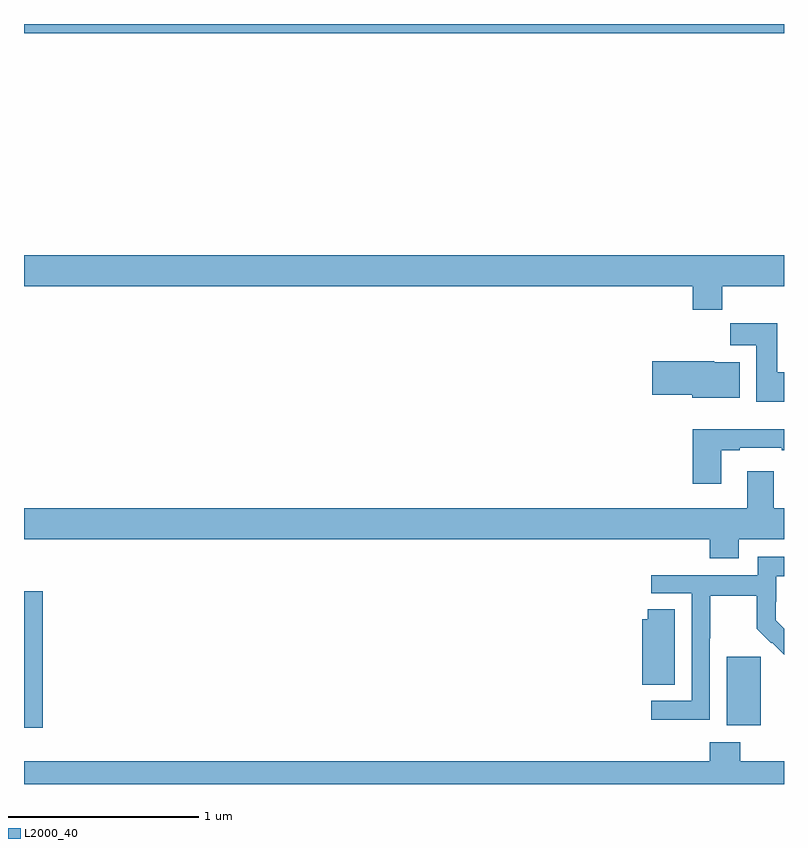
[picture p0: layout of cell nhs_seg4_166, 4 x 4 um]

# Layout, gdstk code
import gdstk
lib = gdstk.Library(unit=1e-6, precision=1e-09)
def R(c, l, rs):  # rectangles x0, y0, x1, y1
    for r in rs: c.add(gdstk.rectangle(r[:2], r[2:], *l))
def P(c, l, *ps):  # polygons
    for p in ps: c.add(gdstk.Polygon(p, *l))
L2000_40 = (2000, 40)

nhs_seg4_166 = lib.new_cell('nhs_seg4_166')
R(nhs_seg4_166, L2000_40, [(119,761.196,119.099,761.914), (122.699,761.21,122.878,761.571), (119,764.852,123,764.9)])
P(nhs_seg4_166, L2000_40, [(122.675,763.52),(123,763.52),(123,763.684),(119,763.684),(119,763.52),(122.519,763.52),(122.519,763.396),(122.675,763.396)],
  [(123,763.068),(122.965,763.068),(122.965,763.326),(122.716,763.326),(122.716,763.208),(122.855,763.208),(122.855,762.912),(123,762.912)],
  [(122.767,763.12),(122.634,763.12),(122.634,763.126),(122.307,763.126),(122.307,762.95),(122.516,762.95),(122.516,762.932),(122.767,762.932)],
  [(122.671,762.657),(122.767,762.657),(122.767,762.669),(122.987,762.669),(122.987,762.657),(123,762.657),(123,762.766),(122.519,762.766),(122.519,762.48),(122.671,762.48)],
  [(122.761,762.188),(123,762.188),(123,762.352),(122.947,762.352),(122.947,762.547),(122.807,762.547),(122.807,762.352),(119,762.352),(119,762.188),(122.609,762.188),(122.609,762.089),(122.761,762.089)],
  [(122.61,761.668),(122.613,761.668),(122.613,761.892),(122.857,761.892),(122.857,761.717),(122.934,761.64),(122.937,761.643),(123,761.581),(123,761.718),(122.956,761.762),(122.956,761.859),(122.958,761.859),(122.958,761.993),(123,761.993),(123,762.097),(122.862,762.097),(122.862,762),(122.301,762),(122.301,761.904),(122.514,761.904),(122.514,761.337),(122.301,761.337),(122.301,761.239),(122.61,761.239)],
  [(122.425,761.819),(122.282,761.819),(122.282,761.766),(122.255,761.766),(122.255,761.422),(122.425,761.422)],
  [(123,761.02),(122.769,761.02),(122.769,761.119),(122.609,761.119),(122.609,761.02),(119,761.02),(119,760.9),(123,760.9)])

lib.write_gds('nhs_seg4_166.gds')
